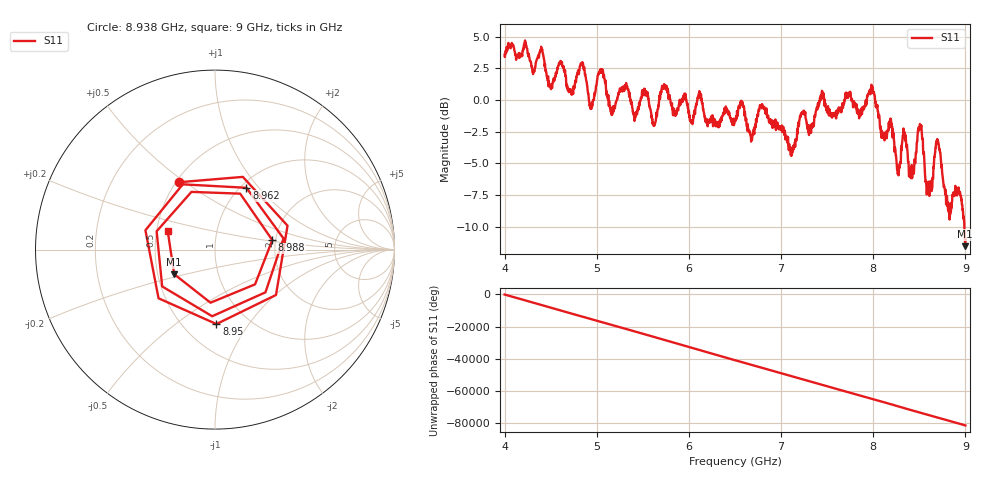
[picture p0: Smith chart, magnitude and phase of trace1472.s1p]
! Created with skrf 1.8.0 (http://scikit-rf.org).
# Hz S RI R 50.0
!freq ReS11 ImS11
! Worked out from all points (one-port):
!   1601 points, 4 GHz to 9 GHz, reference 50 ohm
!   lowest |S11| = -11.5 dB at 8.997 GHz (marker M1), VSWR 1.72, Z = 30.5 - j8.98 ohm
!   |S11| at or under -10 dB: 8.988757 GHz to end of sweep
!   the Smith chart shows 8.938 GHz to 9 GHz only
!   S11 on the Smith chart (normalised r, x): 8.938 GHz: 0.52, +0.48; 8.95 GHz: 0.72, -0.72; 8.962 GHz: 1.07, +0.86; 8.988 GHz: 1.92, +0.23; 9 GHz: 0.57, +0.13
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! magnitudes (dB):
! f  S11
! 4 GHz  3.6
! 4.625 GHz  2.7
! 4.719 GHz  0.6
! 4.844 GHz  3.0
! 4.938 GHz  -0.5
! 5.041 GHz  2.3
! 5.156 GHz  -0.6
! 5.25 GHz  0.9
! 5.875 GHz  -0.7
! 6.5 GHz  -1.6
! 6.794 GHz  -0.3
! 7.125 GHz  -4.0
! 7.231 GHz  -1.1
! 7.75 GHz  0.7
! 7.991 GHz  1.1
! 8.269 GHz  -5.7
! 8.375 GHz  -4.4
! 8.422 GHz  -6.2
! 8.506 GHz  -1.9
! 8.594 GHz  -6.8
! 8.7 GHz  -3.2
! 8.816 GHz  -8.1
! 8.938 GHz  -7.4
! 8.95 GHz  -7.6
! 8.962 GHz  -8.3
! 8.988 GHz  -9.8
! 8.997 GHz  -11.5
! 9 GHz  -10.9
